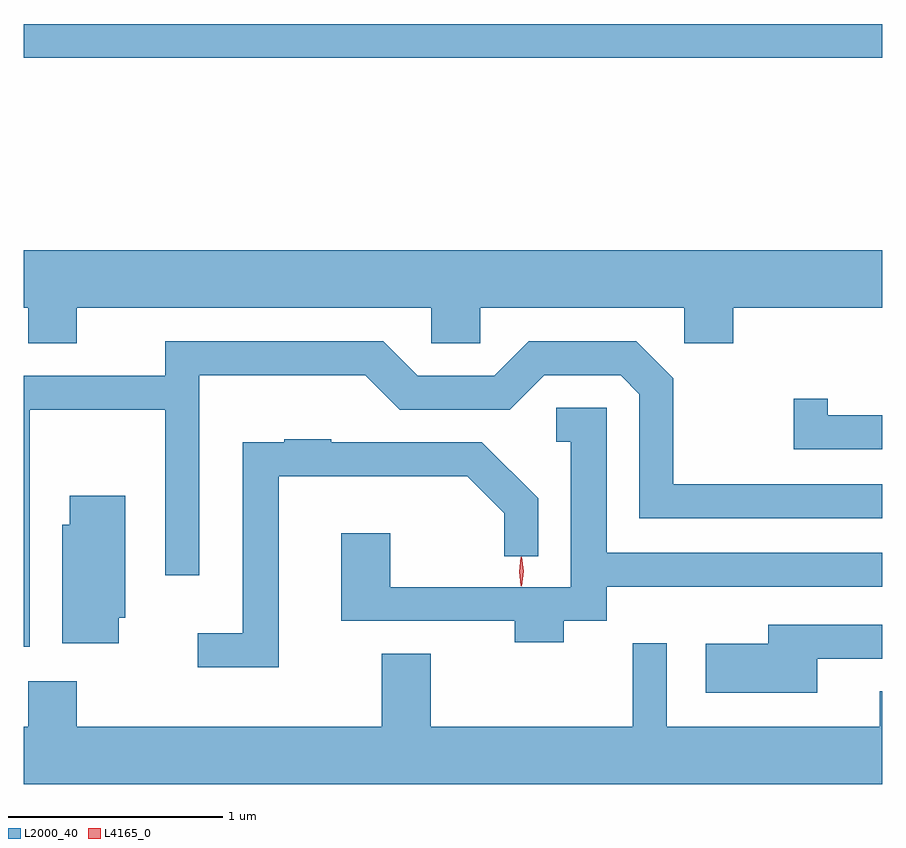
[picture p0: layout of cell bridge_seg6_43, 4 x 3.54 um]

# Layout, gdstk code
import gdstk
lib = gdstk.Library(unit=1e-6, precision=1e-09)
def R(c, l, rs):  # rectangles x0, y0, x1, y1
    for r in rs: c.add(gdstk.rectangle(r[:2], r[2:], *l))
def P(c, l, *ps):  # polygons
    for p in ps: c.add(gdstk.Polygon(p, *l))
L2000_40 = (2000, 40)
L4165_0 = (4165, 0)

bridge_seg6_43 = lib.new_cell('bridge_seg6_43')
R(bridge_seg6_43, L2000_40, [(1548.902,1644.441,1552.902,1644.599)])
P(bridge_seg6_43, L2000_40, [(1549.149,1643.276),(1550.801,1643.276),(1550.801,1643.111),(1551.029,1643.111),(1551.029,1643.276),(1551.981,1643.276),(1551.981,1643.111),(1552.209,1643.111),(1552.209,1643.276),(1552.902,1643.276),(1552.902,1643.544),(1548.902,1643.544),(1548.902,1643.276),(1548.921,1643.276),(1548.921,1643.111),(1549.149,1643.111)],
  [(1548.929,1642.801),(1549.561,1642.801),(1549.561,1642.028),(1549.719,1642.028),(1549.719,1642.961),(1550.494,1642.961),(1550.654,1642.801),(1551.167,1642.801),(1551.327,1642.961),(1551.684,1642.961),(1551.771,1642.874),(1551.771,1642.296),(1552.902,1642.296),(1552.902,1642.454),(1551.929,1642.454),(1551.929,1642.947),(1551.757,1643.119),(1551.254,1643.119),(1551.094,1642.959),(1550.737,1642.959),(1550.577,1643.119),(1549.561,1643.119),(1549.561,1642.959),(1548.902,1642.959),(1548.902,1641.696),(1548.929,1641.696)],
  [(1552.902,1642.774),(1552.649,1642.774),(1552.649,1642.853),(1552.491,1642.853),(1552.491,1642.616),(1552.902,1642.616)],
  [(1551.419,1641.816),(1551.619,1641.816),(1551.619,1641.976),(1552.902,1641.976),(1552.902,1642.134),(1551.619,1642.134),(1551.619,1642.809),(1551.383,1642.809),(1551.383,1642.651),(1551.451,1642.651),(1551.451,1641.974),(1550.609,1641.974),(1550.609,1642.224),(1550.381,1642.224),(1550.381,1641.816),(1551.191,1641.816),(1551.191,1641.716),(1551.419,1641.716)],
  [(1550.089,1642.491),(1550.969,1642.491),(1551.141,1642.319),(1551.141,1642.118),(1551.299,1642.118),(1551.299,1642.387),(1551.037,1642.649),(1550.335,1642.649),(1550.335,1642.664),(1550.115,1642.664),(1550.115,1642.649),(1549.921,1642.649),(1549.921,1641.759),(1549.713,1641.759),(1549.713,1641.601),(1550.089,1641.601)],
  [(1549.344,1641.831),(1549.374,1641.831),(1549.374,1642.399),(1549.116,1642.399),(1549.116,1642.264),(1549.081,1642.264),(1549.081,1641.711),(1549.344,1641.711)],
  [(1552.599,1641.641),(1552.902,1641.641),(1552.902,1641.799),(1552.371,1641.799),(1552.371,1641.709),(1552.081,1641.709),(1552.081,1641.481),(1552.599,1641.481)],
  [(1552.902,1641.489),(1552.891,1641.489),(1552.891,1641.324),(1551.899,1641.324),(1551.899,1641.713),(1551.741,1641.713),(1551.741,1641.324),(1550.799,1641.324),(1550.799,1641.664),(1550.571,1641.664),(1550.571,1641.324),(1549.149,1641.324),(1549.149,1641.534),(1548.921,1641.534),(1548.921,1641.324),(1548.902,1641.324),(1548.902,1641.056),(1552.902,1641.056)])
P(bridge_seg6_43, L4165_0, [(1551.222,1641.977),(1551.222,1641.977),(1551.212,1642.047),(1551.222,1642.116),(1551.222,1642.116),(1551.223,1642.116),(1551.232,1642.047),(1551.223,1641.977)],
  [(1551.219,1641.98),(1551.21,1642.046),(1551.219,1642.113),(1551.22,1642.113),(1551.22,1642.113),(1551.23,1642.046),(1551.22,1641.98),(1551.22,1641.98)])

lib.write_gds('bridge_seg6_43.gds')
